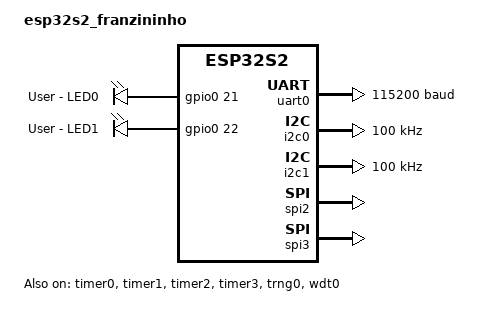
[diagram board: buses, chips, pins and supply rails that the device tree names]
/*
 * Copyright (c) 2022 Felipe Neves.
 *
 * SPDX-License-Identifier: Apache-2.0
 */

/dts-v1/;

#include <espressif/esp32s2/esp32s2_wroom.dtsi>
#include "esp32s2_franzininho-pinctrl.dtsi"

/ {
	model = "esp32s2_franzininho";
	compatible = "espressif,esp32s2";

	aliases {
		led0 = &user_led_0;
		led1 = &user_led_1;
		i2c-0 = &i2c0;
		watchdog0 = &wdt0;
	};

	chosen {
		zephyr,sram = &sram0;
		zephyr,console = &uart0;
		zephyr,shell-uart = &uart0;
		zephyr,flash = &flash0;
	};

	leds {
		compatible = "gpio-leds";

		user_led_0: led_0 {
			gpios =  <&gpio0 21 GPIO_ACTIVE_HIGH>;
			label = "User - LED0";
		};

		user_led_1: led_1 {
			gpios =  <&gpio0 22 GPIO_ACTIVE_HIGH>;
			label = "User - LED1";
		};
	};
};

&cpu0 {
	clock-frequency = <ESP32_CLK_CPU_240M>;
};

&uart0 {
	status = "okay";
	current-speed = <115200>;
	pinctrl-0 = <&uart0_default>;
	pinctrl-names = "default";
};

&gpio0 {
	status = "okay";
};

&gpio1 {
	status = "okay";
};

&timer0 {
	status = "okay";
};

&timer1 {
	status = "okay";
};

&timer2 {
	status = "okay";
};

&timer3 {
	status = "okay";
};

&i2c0 {
	status = "okay";
	clock-frequency = <I2C_BITRATE_STANDARD>;
	pinctrl-0 = <&i2c0_default>;
	pinctrl-names = "default";
};

&i2c1 {
	clock-frequency = <I2C_BITRATE_STANDARD>;
	pinctrl-0 = <&i2c1_default>;
	pinctrl-names = "default";
};

&trng0 {
	status = "okay";
};

&spi2 {
	#address-cells = <1>;
	#size-cells = <0>;
	status = "okay";
	pinctrl-0 = <&spim2_default>;
	pinctrl-names = "default";
};

&spi3 {
	#address-cells = <1>;
	#size-cells = <0>;
	status = "okay";
	pinctrl-0 = <&spim3_default>;
	pinctrl-names = "default";
};

&flash0 {
	status = "okay";
	partitions {
		compatible = "fixed-partitions";
		#address-cells = <1>;
		#size-cells = <1>;

		/* Reserve 60kB for the bootloader */
		boot_partition: partition@1000 {
			label = "mcuboot";
			reg = <0x00001000 0x0000F000>;
			read-only;
		};

		/* Reserve 1024kB for the application in slot 0 */
		slot0_partition: partition@10000 {
			label = "image-0";
			reg = <0x00010000 0x00100000>;
		};

		/* Reserve 1024kB for the application in slot 1 */
		slot1_partition: partition@110000 {
			label = "image-1";
			reg = <0x00110000 0x00100000>;
		};

		/* Reserve 256kB for the scratch partition */
		scratch_partition: partition@210000 {
			   label = "image-scratch";
			   reg = <0x00210000 0x00040000>;
		};

		storage_partition: partition@250000 {
			label = "storage";
			reg = <0x00250000 0x00006000>;
		};
	};
};

&wdt0 {
	status = "okay";
};
